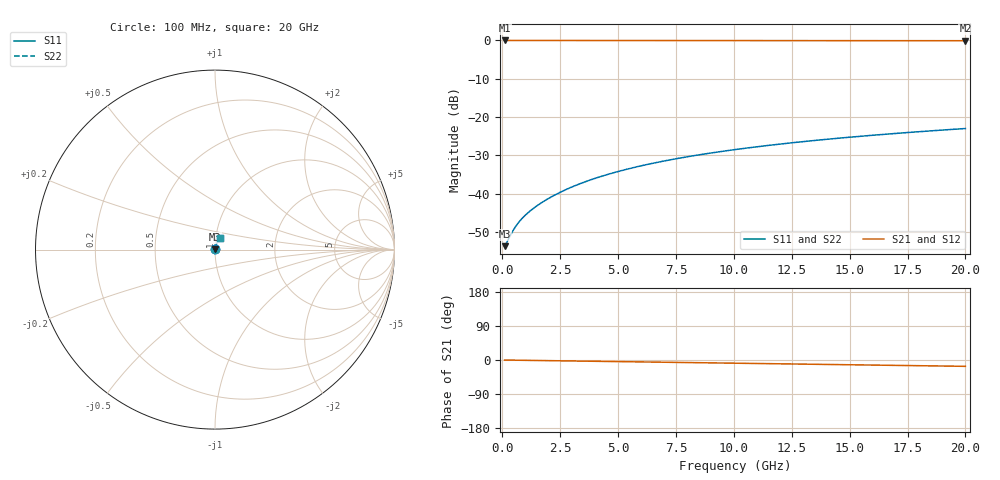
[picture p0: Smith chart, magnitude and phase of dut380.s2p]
! Touchstone file exported from HFSS 2026.1.0
!  File:  C:/ffzhzh/LocalFiles/Ansys_Project_Files/temp_train_BSMRDL_380_1783011957_4048.aedt
!  Generated:  01:07:18 AM Jul  3, 2026
!  Design:  BSMRDL
!  Project:  temp_train_BSMRDL_380_1783011957_4048
! Variables:
!  h_bsmrdl = 2.4um
!  h_ox = 20um
!  h_rdl = 5um
!  h_sub = 80um
!  h_tmrdl = 5um
!  h_tsv = 80um
!  h_via = 3um
!  l_bsmrdl = 270.63um
!  l_sub = 670.63um
!  l_tmrdl = 200um
!  m_sub = 200um
!  pitch = 31.81um
!  r_tsv = 6um
!  s_tmrdl = 10um
!  w_bsmrdl = 24.89um
!  w_sub = 500um
!  w_tmrdl = 12um
!  x_tsv_center1 = 206um
!  x_tsv_center2 = 501.52um
!  x_tsv_center3 = 713.52um
!  x_tsv_center4 = 1009.04um
!  x_tsv_center5 = 1221.04um
!  x_tsv_center6 = 1516.56um
# GHz S MA R 50.000000
! Terminal data exported
! Port[1] = BSM_RDL1_1_T1
! Port[2] = BSM_RDL1_1_T2
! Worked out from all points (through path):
!   200 points, 100 MHz to 20 GHz, reference 50 ohm
!   highest |S21| = -0.02 dB at 100 MHz (marker M1); lowest = -0.1 dB at 20 GHz (marker M2)
!   group delay of S21, straight-line fit = 2.32 ps
!   lowest |S11| = -53.7 dB at 100 MHz (marker M3), VSWR 1.00, Z = 50.2 + j0.0594 ohm
!   |S11| at or under -10 dB: start of sweep to end of sweep
!   |S22| runs from -53.7 to -23.0 dB; largest |S21 - S12| = 1e-14
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0.1  0.002065 16.7  0.998 -0.1  0.998 -0.1  0.002065 16.7
! Gamma 0 0 0 0
! Port Impedance 50 0 50 0
0.2  0.002336 28.0  0.9979 -0.2  0.9979 -0.2  0.002337 28.0
0.4  0.003054 42.1  0.9976 -0.4  0.9976 -0.4  0.003054 42.1
0.6  0.003823 49.3  0.9974 -0.5  0.9974 -0.5  0.003822 49.3
0.7  0.004195 51.7  0.9973 -0.6  0.9973 -0.6  0.004195 51.7
0.9  0.004912 55.4  0.9972 -0.8  0.9972 -0.8  0.004911 55.4
1.2  0.005943 59.5  0.997 -1.1  0.997 -1.1  0.005942 59.5
1.4  0.00662 61.7  0.9969 -1.2  0.9969 -1.2  0.00662 61.7
1.7  0.00764 64.5  0.9968 -1.5  0.9968 -1.5  0.00764 64.5
2.2  0.009367 67.9  0.9967 -1.9  0.9967 -1.9  0.009368 67.9
2.8  0.01149 70.6  0.9966 -2.4  0.9966 -2.4  0.01149 70.6
3.5  0.014 72.6  0.9964 -3.0  0.9964 -3.0  0.014 72.6
4.2  0.01654 73.8  0.9963 -3.6  0.9963 -3.6  0.01654 73.8
5  0.01946 74.5  0.996 -4.3  0.996 -4.3  0.01946 74.5
5.9  0.02274 74.9  0.9958 -5.0  0.9958 -5.0  0.02274 74.9
6.8  0.02601 75.0  0.9955 -5.8  0.9955 -5.8  0.02601 75.0
8.3  0.0314 74.6  0.9949 -7.0  0.9949 -7.0  0.0314 74.6
10.1  0.03778 73.8  0.9942 -8.5  0.9942 -8.5  0.03778 73.7
11.7  0.04335 72.8  0.9935 -9.9  0.9935 -9.9  0.04335 72.8
13.4  0.04916 71.7  0.9928 -11.3  0.9928 -11.3  0.04916 71.7
16.7  0.06015 69.4  0.9913 -14.0  0.9913 -14.0  0.06015 69.4
20  0.07079 67.0  0.9897 -16.7  0.9897 -16.7  0.07079 67.0
